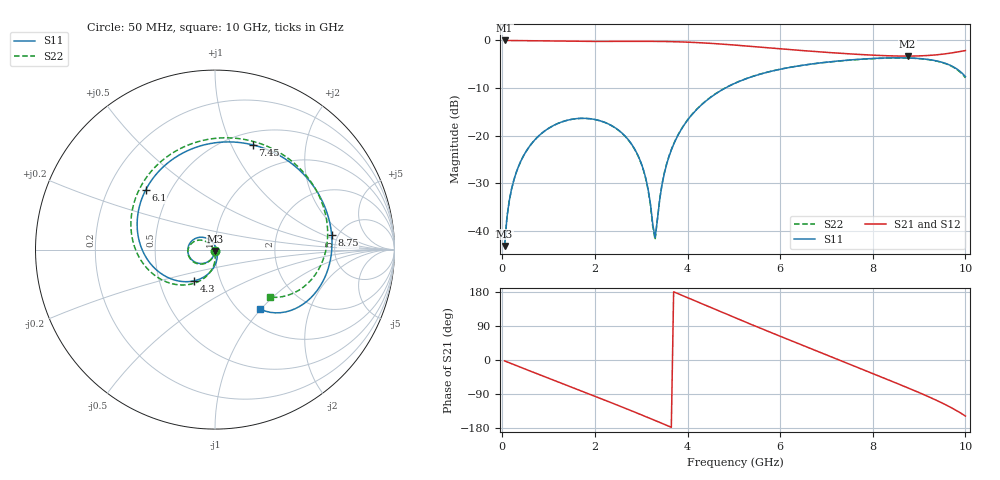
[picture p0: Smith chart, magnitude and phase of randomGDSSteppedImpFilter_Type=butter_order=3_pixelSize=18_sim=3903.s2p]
! freq	dB(S11)	phase(S11)	dB(S12)	phase(S12)
!  dB(S21)	phase(S21)	dB(S22)	phase(S22)
!S-par simulation data
#  GHz  S  DB  R 50
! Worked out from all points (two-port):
!   200 points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, 50 MHz to 10 GHz, reference 50 ohm
!   highest |S21| = 0.00 dB at 50 MHz (marker M1); lowest = -3.3 dB at 8.75 GHz (marker M2)
!   |S21| within 3 dB of the highest: start of sweep to 7.816 GHz; 9.398 GHz to end of sweep
!   lowest |S11| = -43.2 dB at 50 MHz (marker M3), VSWR 1.01, Z = 50 - j0.688 ohm
!   |S11| at or under -10 dB: start of sweep to 4.818 GHz
!   |S22| runs from -43.2 to -3.7 dB; largest |S21 - S12| = 0
!   S11 on the Smith chart (normalised r, x): 50 MHz: 1.00, -0.01; 4.3 GHz: 0.75, -0.27; 6.1 GHz: 0.36, +0.33; 7.45 GHz: 0.64, +1.21; 8.75 GHz: 4.43, +1.24; 10 GHz: 1.24, -0.99
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0.05  -43.23 -92.8  -0.00 -2.5  -0.00 -2.5  -43.25 -92.7
0.1  -37.23 -95.2  -0.01 -4.9  -0.01 -4.9  -37.24 -94.9
0.2  -31.25 -100.2  -0.02 -9.7  -0.02 -9.7  -31.25 -99.7
0.5  -23.55 -115.2  -0.05 -24.2  -0.05 -24.2  -23.55 -114.0
1.05  -18.18 -142.6  -0.12 -50.6  -0.12 -50.6  -18.18 -139.9
1.75  -16.37 -177.4  -0.20 -83.8  -0.20 -83.8  -16.37 -172.3
2.4  -18.13 149.5  -0.20 -115.0  -0.20 -115.0  -18.15 158.4
2.85  -22.69 124.1  -0.19 -137.0  -0.19 -137.0  -22.75 139.6
3.1  -29.03 104.3  -0.19 -149.5  -0.19 -149.5  -29.18 134.2
3.3  -41.48 11.0  -0.20 -159.6  -0.20 -159.6  -41.87 -147.9
3.4  -33.38 -55.6  -0.21 -164.7  -0.21 -164.7  -33.23 -93.9
3.7  -21.84 -88.3  -0.26 179.9  -0.26 179.9  -21.76 -93.3
4.3  -13.55 -124.0  -0.50 148.9  -0.50 148.9  -13.51 -119.7
5.05  -8.89 -165.1  -0.99 110.3  -0.99 110.3  -8.86 -155.6
5.55  -7.14 168.3  -1.39 85.1  -1.39 85.1  -7.12 -179.3
6.1  -5.86 139.4  -1.84 57.7  -1.84 57.7  -5.85 154.9
6.7  -4.92 108.3  -2.29 28.2  -2.29 28.2  -4.93 126.8
7.45  -4.15 70.2  -2.79 -8.7  -2.79 -8.7  -4.18 91.3
8.35  -3.67 26.1  -3.23 -53.1  -3.23 -53.1  -3.70 47.8
8.75  -3.68 7.0  -3.29 -73.1  -3.29 -73.1  -3.70 28.0
9.4  -4.35 -24.2  -3.00 -107.8  -3.00 -107.8  -4.38 -5.8
10  -7.59 -52.7  -2.13 -147.9  -2.13 -147.9  -7.85 -40.9
